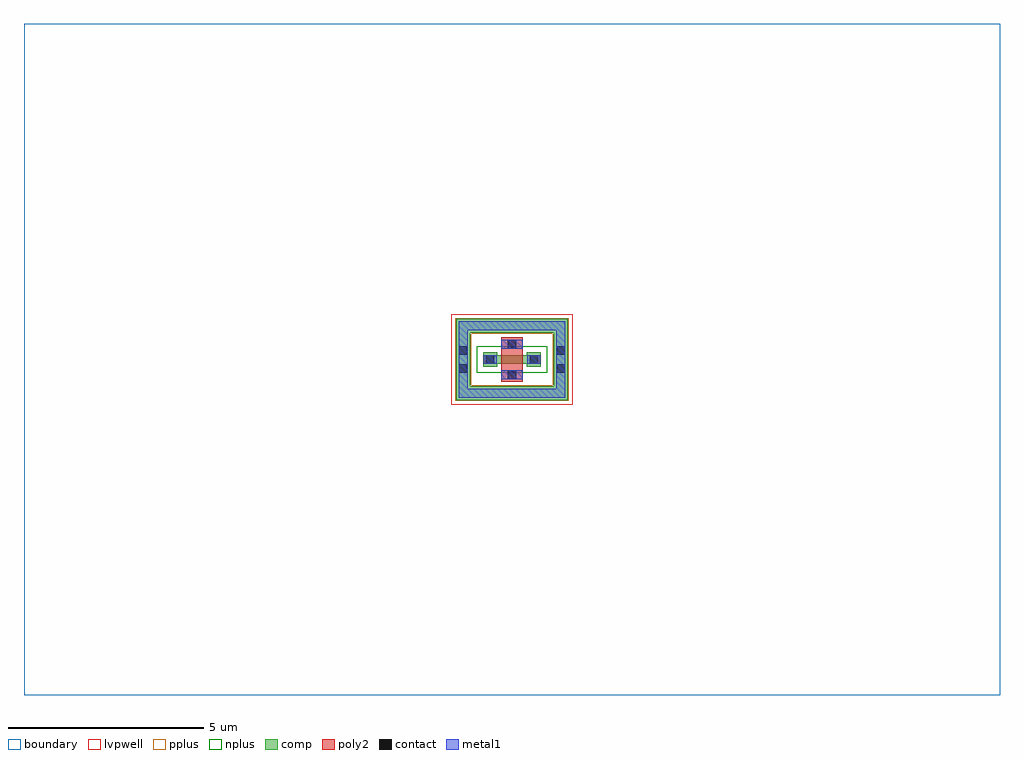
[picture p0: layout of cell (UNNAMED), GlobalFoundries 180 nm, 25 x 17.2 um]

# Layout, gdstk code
import gdstk
lib = gdstk.Library(unit=1e-6, precision=1e-09)
def R(c, l, rs):  # rectangles x0, y0, x1, y1
    for r in rs: c.add(gdstk.rectangle(r[:2], r[2:], *l))
boundary = (0, 0)
comp = (22, 0)
poly2 = (30, 0)
pplus = (31, 0)
nplus = (32, 0)
contact = (33, 0)
metal1 = (34, 0)
lvpwell = (204, 0)

c__unnamed_ = lib.new_cell('(UNNAMED)')
R(c__unnamed_, boundary, [(-12.5,-8.6,12.5,8.6)])
R(c__unnamed_, comp, [(-1.43,-1.04,1.43,-0.68), (-1.43,-0.68,-1.07,0.68), (1.07,-0.68,1.43,0.68), (-0.74,-0.18,-0.38,-0.11), (0.38,-0.18,0.74,-0.11), (-0.74,-0.11,0.74,0.11), (-0.74,0.11,-0.38,0.18), (0.38,0.11,0.74,0.18), (-1.43,0.68,1.43,1.04)])
R(c__unnamed_, poly2, [(-0.28,-0.57,0.28,0.57)])
R(c__unnamed_, pplus, [(-1.45,-1.06,1.45,-0.66), (-1.45,-0.66,-1.04,-0.555), (1.04,-0.66,1.45,-0.555), (-1.46,-0.555,-1.04,0.555), (1.04,-0.555,1.46,0.555), (-1.45,0.555,-1.04,0.66), (1.04,0.555,1.45,0.66), (-1.45,0.66,1.45,1.06)])
R(c__unnamed_, nplus, [(-0.9,-0.34,0.9,0.34)])
R(c__unnamed_, contact, [(-0.11,-0.5,0.11,-0.28), (-1.36,-0.345,-1.14,-0.125), (1.14,-0.345,1.36,-0.125), (-0.67,-0.11,-0.45,0.11), (0.45,-0.11,0.67,0.11), (-1.36,0.125,-1.14,0.345), (1.14,0.125,1.36,0.345), (-0.11,0.28,0.11,0.5)])
R(c__unnamed_, metal1, [(-1.365,-0.975,1.365,-0.745), (-1.365,-0.745,-1.135,0.745), (1.135,-0.745,1.365,0.745), (-0.27,-0.505,0.27,-0.275), (-0.73,-0.115,-0.39,0.115), (0.39,-0.115,0.73,0.115), (-0.27,0.275,0.27,0.505), (-1.365,0.745,1.365,0.975)])
R(c__unnamed_, lvpwell, [(-1.55,-1.16,1.55,1.16)])

lib.write_gds('_UNNAMED_.gds')
